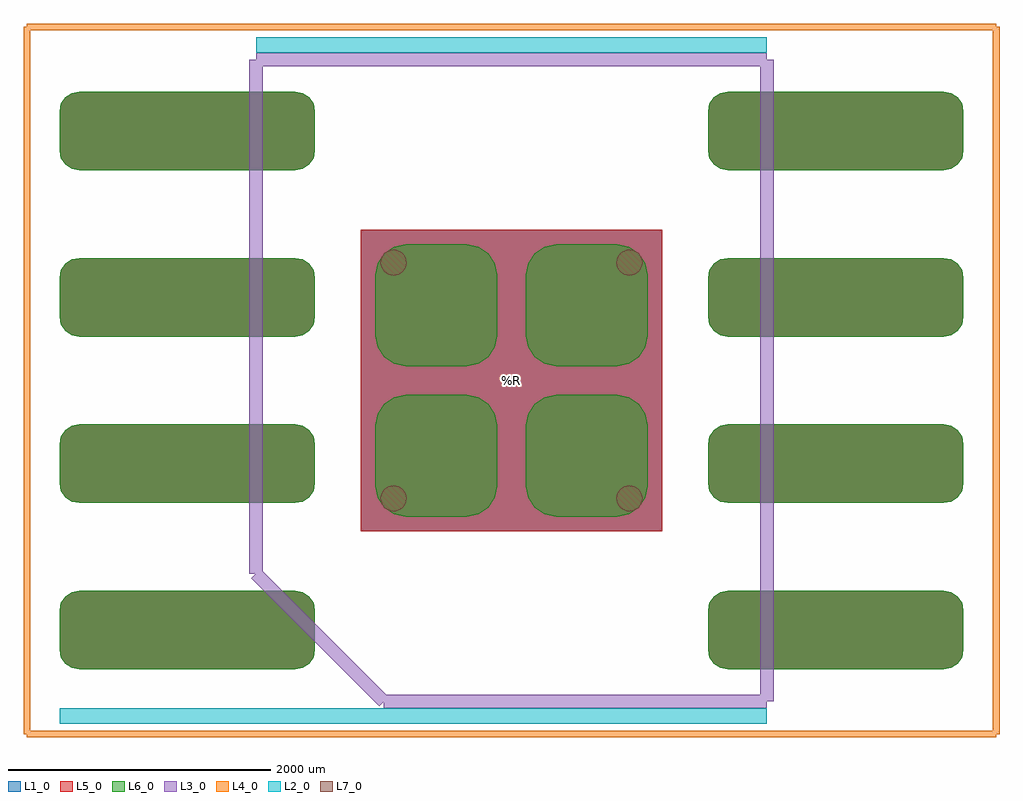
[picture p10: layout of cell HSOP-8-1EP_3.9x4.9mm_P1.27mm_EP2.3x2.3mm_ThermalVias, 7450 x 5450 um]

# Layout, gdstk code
import gdstk
lib = gdstk.Library(unit=1e-6, precision=1e-09)
def R(c, l, rs):  # rectangles x0, y0, x1, y1
    for r in rs: c.add(gdstk.rectangle(r[:2], r[2:], *l))
def P(c, l, *ps):  # polygons
    for p in ps: c.add(gdstk.Polygon(p, *l))
L1_0 = (1, 0)
L2_0 = (2, 0)
L3_0 = (3, 0)
L4_0 = (4, 0)
L5_0 = (5, 0)
L6_0 = (6, 0)
L7_0 = (7, 0)

hsop_8_1ep_3_9x4_9mm_p1_ = lib.new_cell('HSOP-8-1EP_3.9x4.9mm_P1.27mm_EP2.3x2.3mm_ThermalVias')
R(hsop_8_1ep_3_9x4_9mm_p1_, L1_0, [(-1150,-1150,1150,1150), (-1150,-1150,1150,1150)])
P(hsop_8_1ep_3_9x4_9mm_p1_, L1_0, [(-1650,-2205),(-1593,-2194),(-1544,-2161),(-1511,-2112),(-1500,-2055),(-1500,-1755),(-1511,-1698),(-1544,-1649),(-1593,-1616),(-1650,-1605),(-3300,-1605),(-3357,-1616),(-3406,-1649),(-3439,-1698),(-3450,-1755),(-3450,-2055),(-3439,-2112),(-3406,-2161),(-3357,-2194),(-3300,-2205)],
  [(-1650,-935),(-1593,-924),(-1544,-891),(-1511,-842),(-1500,-785),(-1500,-485),(-1511,-428),(-1544,-379),(-1593,-346),(-1650,-335),(-3300,-335),(-3357,-346),(-3406,-379),(-3439,-428),(-3450,-485),(-3450,-785),(-3439,-842),(-3406,-891),(-3357,-924),(-3300,-935)],
  [(-1650,335),(-1593,346),(-1544,379),(-1511,428),(-1500,485),(-1500,785),(-1511,842),(-1544,891),(-1593,924),(-1650,935),(-3300,935),(-3357,924),(-3406,891),(-3439,842),(-3450,785),(-3450,485),(-3439,428),(-3406,379),(-3357,346),(-3300,335)],
  [(-1650,1605),(-1593,1616),(-1544,1649),(-1511,1698),(-1500,1755),(-1500,2055),(-1511,2112),(-1544,2161),(-1593,2194),(-1650,2205),(-3300,2205),(-3357,2194),(-3406,2161),(-3439,2112),(-3450,2055),(-3450,1755),(-3439,1698),(-3406,1649),(-3357,1616),(-3300,1605)],
  [(3300,1605),(3357,1616),(3406,1649),(3439,1698),(3450,1755),(3450,2055),(3439,2112),(3406,2161),(3357,2194),(3300,2205),(1650,2205),(1593,2194),(1544,2161),(1511,2112),(1500,2055),(1500,1755),(1511,1698),(1544,1649),(1593,1616),(1650,1605)],
  [(3300,335),(3357,346),(3406,379),(3439,428),(3450,485),(3450,785),(3439,842),(3406,891),(3357,924),(3300,935),(1650,935),(1593,924),(1544,891),(1511,842),(1500,785),(1500,485),(1511,428),(1544,379),(1593,346),(1650,335)],
  [(3300,-935),(3357,-924),(3406,-891),(3439,-842),(3450,-785),(3450,-485),(3439,-428),(3406,-379),(3357,-346),(3300,-335),(1650,-335),(1593,-346),(1544,-379),(1511,-428),(1500,-485),(1500,-785),(1511,-842),(1544,-891),(1593,-924),(1650,-935)],
  [(3300,-2205),(3357,-2194),(3406,-2161),(3439,-2112),(3450,-2055),(3450,-1755),(3439,-1698),(3406,-1649),(3357,-1616),(3300,-1605),(1650,-1605),(1593,-1616),(1544,-1649),(1511,-1698),(1500,-1755),(1500,-2055),(1511,-2112),(1544,-2161),(1593,-2194),(1650,-2205)],
  [(-650,-900),(-669,-804),(-723,-723),(-804,-669),(-900,-650),(-996,-669),(-1077,-723),(-1131,-804),(-1150,-900),(-1131,-996),(-1077,-1077),(-996,-1131),(-900,-1150),(-804,-1131),(-723,-1077),(-669,-996)],
  [(1150,-900),(1131,-804),(1077,-723),(996,-669),(900,-650),(804,-669),(723,-723),(669,-804),(650,-900),(669,-996),(723,-1077),(804,-1131),(900,-1150),(996,-1131),(1077,-1077),(1131,-996)],
  [(-650,900),(-669,996),(-723,1077),(-804,1131),(-900,1150),(-996,1131),(-1077,1077),(-1131,996),(-1150,900),(-1131,804),(-1077,723),(-996,669),(-900,650),(-804,669),(-723,723),(-669,804)],
  [(1150,900),(1131,996),(1077,1077),(996,1131),(900,1150),(804,1131),(723,1077),(669,996),(650,900),(669,804),(723,723),(804,669),(900,650),(996,669),(1077,723),(1131,804)])
R(hsop_8_1ep_3_9x4_9mm_p1_, L5_0, [(-1150,-1150,1150,1150)])
P(hsop_8_1ep_3_9x4_9mm_p1_, L5_0, [(-1650,-2205),(-1593,-2194),(-1544,-2161),(-1511,-2112),(-1500,-2055),(-1500,-1755),(-1511,-1698),(-1544,-1649),(-1593,-1616),(-1650,-1605),(-3300,-1605),(-3357,-1616),(-3406,-1649),(-3439,-1698),(-3450,-1755),(-3450,-2055),(-3439,-2112),(-3406,-2161),(-3357,-2194),(-3300,-2205)],
  [(-1650,-935),(-1593,-924),(-1544,-891),(-1511,-842),(-1500,-785),(-1500,-485),(-1511,-428),(-1544,-379),(-1593,-346),(-1650,-335),(-3300,-335),(-3357,-346),(-3406,-379),(-3439,-428),(-3450,-485),(-3450,-785),(-3439,-842),(-3406,-891),(-3357,-924),(-3300,-935)],
  [(-1650,335),(-1593,346),(-1544,379),(-1511,428),(-1500,485),(-1500,785),(-1511,842),(-1544,891),(-1593,924),(-1650,935),(-3300,935),(-3357,924),(-3406,891),(-3439,842),(-3450,785),(-3450,485),(-3439,428),(-3406,379),(-3357,346),(-3300,335)],
  [(-1650,1605),(-1593,1616),(-1544,1649),(-1511,1698),(-1500,1755),(-1500,2055),(-1511,2112),(-1544,2161),(-1593,2194),(-1650,2205),(-3300,2205),(-3357,2194),(-3406,2161),(-3439,2112),(-3450,2055),(-3450,1755),(-3439,1698),(-3406,1649),(-3357,1616),(-3300,1605)],
  [(3300,1605),(3357,1616),(3406,1649),(3439,1698),(3450,1755),(3450,2055),(3439,2112),(3406,2161),(3357,2194),(3300,2205),(1650,2205),(1593,2194),(1544,2161),(1511,2112),(1500,2055),(1500,1755),(1511,1698),(1544,1649),(1593,1616),(1650,1605)],
  [(3300,335),(3357,346),(3406,379),(3439,428),(3450,485),(3450,785),(3439,842),(3406,891),(3357,924),(3300,935),(1650,935),(1593,924),(1544,891),(1511,842),(1500,785),(1500,485),(1511,428),(1544,379),(1593,346),(1650,335)],
  [(3300,-935),(3357,-924),(3406,-891),(3439,-842),(3450,-785),(3450,-485),(3439,-428),(3406,-379),(3357,-346),(3300,-335),(1650,-335),(1593,-346),(1544,-379),(1511,-428),(1500,-485),(1500,-785),(1511,-842),(1544,-891),(1593,-924),(1650,-935)],
  [(3300,-2205),(3357,-2194),(3406,-2161),(3439,-2112),(3450,-2055),(3450,-1755),(3439,-1698),(3406,-1649),(3357,-1616),(3300,-1605),(1650,-1605),(1593,-1616),(1544,-1649),(1511,-1698),(1500,-1755),(1500,-2055),(1511,-2112),(1544,-2161),(1593,-2194),(1650,-2205)])
P(hsop_8_1ep_3_9x4_9mm_p1_, L6_0, [(-1650,-2205),(-1593,-2194),(-1544,-2161),(-1511,-2112),(-1500,-2055),(-1500,-1755),(-1511,-1698),(-1544,-1649),(-1593,-1616),(-1650,-1605),(-3300,-1605),(-3357,-1616),(-3406,-1649),(-3439,-1698),(-3450,-1755),(-3450,-2055),(-3439,-2112),(-3406,-2161),(-3357,-2194),(-3300,-2205)],
  [(-1650,-935),(-1593,-924),(-1544,-891),(-1511,-842),(-1500,-785),(-1500,-485),(-1511,-428),(-1544,-379),(-1593,-346),(-1650,-335),(-3300,-335),(-3357,-346),(-3406,-379),(-3439,-428),(-3450,-485),(-3450,-785),(-3439,-842),(-3406,-891),(-3357,-924),(-3300,-935)],
  [(-1650,335),(-1593,346),(-1544,379),(-1511,428),(-1500,485),(-1500,785),(-1511,842),(-1544,891),(-1593,924),(-1650,935),(-3300,935),(-3357,924),(-3406,891),(-3439,842),(-3450,785),(-3450,485),(-3439,428),(-3406,379),(-3357,346),(-3300,335)],
  [(-1650,1605),(-1593,1616),(-1544,1649),(-1511,1698),(-1500,1755),(-1500,2055),(-1511,2112),(-1544,2161),(-1593,2194),(-1650,2205),(-3300,2205),(-3357,2194),(-3406,2161),(-3439,2112),(-3450,2055),(-3450,1755),(-3439,1698),(-3406,1649),(-3357,1616),(-3300,1605)],
  [(3300,1605),(3357,1616),(3406,1649),(3439,1698),(3450,1755),(3450,2055),(3439,2112),(3406,2161),(3357,2194),(3300,2205),(1650,2205),(1593,2194),(1544,2161),(1511,2112),(1500,2055),(1500,1755),(1511,1698),(1544,1649),(1593,1616),(1650,1605)],
  [(3300,335),(3357,346),(3406,379),(3439,428),(3450,485),(3450,785),(3439,842),(3406,891),(3357,924),(3300,935),(1650,935),(1593,924),(1544,891),(1511,842),(1500,785),(1500,485),(1511,428),(1544,379),(1593,346),(1650,335)],
  [(3300,-935),(3357,-924),(3406,-891),(3439,-842),(3450,-785),(3450,-485),(3439,-428),(3406,-379),(3357,-346),(3300,-335),(1650,-335),(1593,-346),(1544,-379),(1511,-428),(1500,-485),(1500,-785),(1511,-842),(1544,-891),(1593,-924),(1650,-935)],
  [(3300,-2205),(3357,-2194),(3406,-2161),(3439,-2112),(3450,-2055),(3450,-1755),(3439,-1698),(3406,-1649),(3357,-1616),(3300,-1605),(1650,-1605),(1593,-1616),(1544,-1649),(1511,-1698),(1500,-1755),(1500,-2055),(1511,-2112),(1544,-2161),(1593,-2194),(1650,-2205)],
  [(-342,-1040),(-254,-1022),(-178,-972),(-128,-896),(-110,-808),(-110,-342),(-128,-254),(-178,-178),(-254,-128),(-342,-110),(-807,-110),(-896,-128),(-972,-178),(-1022,-254),(-1040,-342),(-1040,-807),(-1022,-896),(-972,-972),(-896,-1022),(-808,-1040)],
  [(-342,110),(-254,128),(-178,178),(-128,254),(-110,342),(-110,808),(-128,896),(-178,972),(-254,1022),(-342,1040),(-807,1040),(-896,1022),(-972,972),(-1022,896),(-1040,808),(-1040,342),(-1022,254),(-972,178),(-896,128),(-808,110)],
  [(808,-1040),(896,-1022),(972,-972),(1022,-896),(1040,-808),(1040,-342),(1022,-254),(972,-178),(896,-128),(808,-110),(342,-110),(254,-128),(178,-178),(128,-254),(110,-342),(110,-807),(128,-896),(178,-972),(254,-1022),(342,-1040)],
  [(808,110),(896,128),(972,178),(1022,254),(1040,342),(1040,808),(1022,896),(972,972),(896,1022),(808,1040),(342,1040),(254,1022),(178,972),(128,896),(110,808),(110,342),(128,254),(178,178),(254,128),(342,110)])
P(hsop_8_1ep_3_9x4_9mm_p1_, L7_0, [(-800,-900),(-802,-880),(-808,-862),(-817,-844),(-829,-829),(-844,-817),(-862,-808),(-880,-802),(-900,-800),(-920,-802),(-938,-808),(-956,-817),(-971,-829),(-983,-844),(-992,-862),(-998,-880),(-1000,-900),(-998,-920),(-992,-938),(-983,-956),(-971,-971),(-956,-983),(-938,-992),(-920,-998),(-900,-1000),(-880,-998),(-862,-992),(-844,-983),(-829,-971),(-817,-956),(-808,-938),(-802,-920)],
  [(1000,-900),(998,-880),(992,-862),(983,-844),(971,-829),(956,-817),(938,-808),(920,-802),(900,-800),(880,-802),(862,-808),(844,-817),(829,-829),(817,-844),(808,-862),(802,-880),(800,-900),(802,-920),(808,-938),(817,-956),(829,-971),(844,-983),(862,-992),(880,-998),(900,-1000),(920,-998),(938,-992),(956,-983),(971,-971),(983,-956),(992,-938),(998,-920)],
  [(-800,900),(-802,920),(-808,938),(-817,956),(-829,971),(-844,983),(-862,992),(-880,998),(-900,1000),(-920,998),(-938,992),(-956,983),(-971,971),(-983,956),(-992,938),(-998,920),(-1000,900),(-998,880),(-992,862),(-983,844),(-971,829),(-956,817),(-938,808),(-920,802),(-900,800),(-880,802),(-862,808),(-844,817),(-829,829),(-817,844),(-808,862),(-802,880)],
  [(1000,900),(998,920),(992,938),(983,956),(971,971),(956,983),(938,992),(920,998),(900,1000),(880,998),(862,992),(844,983),(829,971),(817,956),(808,938),(802,920),(800,900),(802,880),(808,862),(817,844),(829,829),(844,817),(862,808),(880,802),(900,800),(920,802),(938,808),(956,817),(971,829),(983,844),(992,862),(998,880)])
hsop_8_1ep_3_9x4_9mm_p1_.add(gdstk.FlexPath([(0,2560),(1950,2560)], 120, ends="flush", simple_path=True, layer=2, datatype=0))  # L2_0
hsop_8_1ep_3_9x4_9mm_p1_.add(gdstk.FlexPath([(0,2560),(-1950,2560)], 120, ends="flush", simple_path=True, layer=2, datatype=0))  # L2_0
hsop_8_1ep_3_9x4_9mm_p1_.add(gdstk.FlexPath([(0,-2560),(1950,-2560)], 120, ends="flush", simple_path=True, layer=2, datatype=0))  # L2_0
hsop_8_1ep_3_9x4_9mm_p1_.add(gdstk.FlexPath([(0,-2560),(-3450,-2560)], 120, ends="flush", simple_path=True, layer=2, datatype=0))  # L2_0
hsop_8_1ep_3_9x4_9mm_p1_.add(gdstk.FlexPath([(-975,-2450),(1950,-2450)], 100, ends="flush", simple_path=True, layer=3, datatype=0))  # L3_0
hsop_8_1ep_3_9x4_9mm_p1_.add(gdstk.FlexPath([(1950,-2450),(1950,2450)], 100, ends="flush", simple_path=True, layer=3, datatype=0))  # L3_0
hsop_8_1ep_3_9x4_9mm_p1_.add(gdstk.FlexPath([(1950,2450),(-1950,2450)], 100, ends="flush", simple_path=True, layer=3, datatype=0))  # L3_0
hsop_8_1ep_3_9x4_9mm_p1_.add(gdstk.FlexPath([(-1950,2450),(-1950,-1475)], 100, ends="flush", simple_path=True, layer=3, datatype=0))  # L3_0
hsop_8_1ep_3_9x4_9mm_p1_.add(gdstk.FlexPath([(-1950,-1475),(-975,-2450)], 100, ends="flush", simple_path=True, layer=3, datatype=0))  # L3_0
hsop_8_1ep_3_9x4_9mm_p1_.add(gdstk.FlexPath([(-3700,-2700),(-3700,2700)], 50, ends="flush", simple_path=True, layer=4, datatype=0))  # L4_0
hsop_8_1ep_3_9x4_9mm_p1_.add(gdstk.FlexPath([(-3700,2700),(3700,2700)], 50, ends="flush", simple_path=True, layer=4, datatype=0))  # L4_0
hsop_8_1ep_3_9x4_9mm_p1_.add(gdstk.FlexPath([(3700,2700),(3700,-2700)], 50, ends="flush", simple_path=True, layer=4, datatype=0))  # L4_0
hsop_8_1ep_3_9x4_9mm_p1_.add(gdstk.FlexPath([(3700,-2700),(-3700,-2700)], 50, ends="flush", simple_path=True, layer=4, datatype=0))  # L4_0
hsop_8_1ep_3_9x4_9mm_p1_.add(gdstk.Label('REF**', (0,-3400), layer=2, texttype=0))
hsop_8_1ep_3_9x4_9mm_p1_.add(gdstk.Label('HSOP-8-1EP_3.9x4.9mm_P1.27mm_EP2.3x2.3mm_ThermalVias', (0,3400), layer=3, texttype=0))
hsop_8_1ep_3_9x4_9mm_p1_.add(gdstk.Label('%R', (0,0), layer=3, texttype=0))

lib.write_gds('HSOP-8-1EP_3.9x4.9mm_P1.27mm_EP2.3x2.3mm_ThermalVias.gds')
